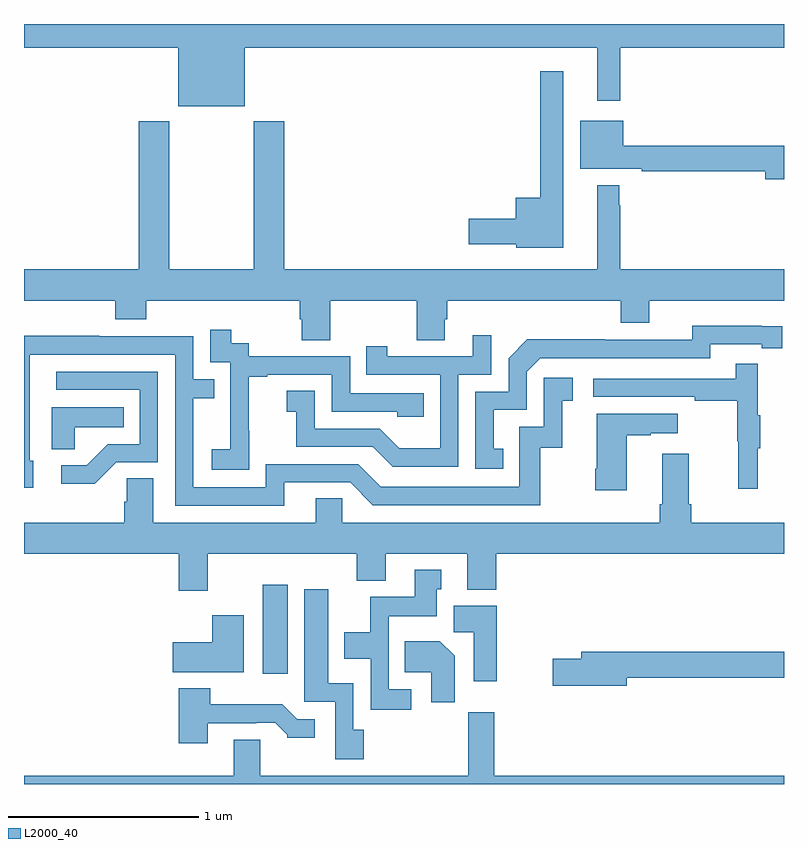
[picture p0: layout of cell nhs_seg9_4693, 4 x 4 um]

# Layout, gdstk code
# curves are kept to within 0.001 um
import gdstk
lib = gdstk.Library(unit=1e-6, precision=1e-09)
def R(c, l, rs):  # rectangles x0, y0, x1, y1
    for r in rs: c.add(gdstk.rectangle(r[:2], r[2:], *l))
def P(c, l, *ps):  # polygons
    for p in ps: c.add(gdstk.Polygon(p, *l))
L2000_40 = (2000, 40)

nhs_seg9_4693 = lib.new_cell('nhs_seg9_4693')
R(nhs_seg9_4693, L2000_40, [(382.256,1237.08,382.387,1237.549)])
P(nhs_seg9_4693, L2000_40, [(382.162,1240.376),(384.017,1240.376),(384.017,1240.095),(384.139,1240.095),(384.139,1240.376),(385,1240.376),(385,1240.5),(381,1240.5),(381,1240.376),(381.812,1240.376),(381.812,1240.067),(382.162,1240.067)],
  [(383.839,1240.252),(383.718,1240.252),(383.718,1239.586),(383.588,1239.586),(383.588,1239.476),(383.34,1239.476),(383.34,1239.341),(383.592,1239.341),(383.592,1239.323),(383.839,1239.323)],
  [(385,1239.86),(384.154,1239.86),(384.154,1239.991),(383.927,1239.991),(383.927,1239.737),(384.25,1239.737),(384.25,1239.724),(384.902,1239.724),(384.902,1239.682),(385,1239.682)],
  [(382.611,1239.044),(383.068,1239.044),(383.068,1238.836),(383.215,1238.836),(383.215,1238.946),(383.228,1238.946),(383.228,1239.044),(384.14,1239.044),(384.14,1238.927),(384.292,1238.927),(384.292,1239.044),(385,1239.044),(385,1239.208),(384.139,1239.208),(384.139,1239.545),(384.132,1239.545),(384.132,1239.652),(384.017,1239.652),(384.017,1239.208),(382.37,1239.208),(382.37,1239.988),(382.21,1239.988),(382.21,1239.208),(381.765,1239.208),(381.765,1239.988),(381.605,1239.988),(381.605,1239.208),(381,1239.208),(381,1239.044),(381.479,1239.044),(381.479,1238.945),(381.644,1238.945),(381.644,1239.044),(382.451,1239.044),(382.451,1238.946),(382.463,1238.946),(382.463,1238.836),(382.611,1238.836)],
  [(383.522,1238.265),(383.473,1238.265),(383.473,1238.469),(383.646,1238.469),(383.646,1238.67),(383.718,1238.742),(384.612,1238.742),(384.612,1238.814),(384.884,1238.814),(384.884,1238.794),(384.992,1238.794),(384.992,1238.91),(384.516,1238.911),(384.516,1238.838),(384.056,1238.838),(384.056,1238.84),(383.648,1238.84),(383.55,1238.742),(383.55,1238.565),(383.376,1238.565),(383.376,1238.16),(383.522,1238.16)],
  [(382.185,1238.359),(382.184,1238.359),(382.184,1238.643),(382.279,1238.643),(382.279,1238.655),(382.62,1238.655),(382.62,1238.46),(382.965,1238.46),(382.965,1238.433),(383.105,1238.433),(383.105,1238.556),(382.716,1238.556),(382.716,1238.751),(382.182,1238.751),(382.182,1238.82),(382.09,1238.82),(382.09,1238.89),(381.981,1238.89),(381.981,1238.721),(382.086,1238.721),(382.086,1238.492),(382.085,1238.492),(382.085,1238.263),(381.987,1238.263),(381.987,1238.153),(382.185,1238.153)],
  [(383.286,1238.655),(383.46,1238.655),(383.46,1238.863),(383.363,1238.863),(383.363,1238.751),(382.912,1238.751),(382.912,1238.803),(382.801,1238.803),(382.801,1238.655),(383.19,1238.655),(383.19,1238.266),(382.976,1238.266),(382.872,1238.37),(382.53,1238.37),(382.53,1238.569),(382.383,1238.569),(382.383,1238.459),(382.432,1238.459),(382.432,1238.274),(382.835,1238.274),(382.94,1238.169),(383.286,1238.169)],
  [(382.369,1238.088),(382.716,1238.088),(382.836,1237.968),(383.716,1237.968),(383.716,1238.271),(383.834,1238.271),(383.834,1238.517),(383.887,1238.517),(383.887,1238.638),(383.736,1238.638),(383.736,1238.379),(383.607,1238.379),(383.607,1238.064),(382.878,1238.064),(382.758,1238.184),(382.272,1238.184),(382.272,1238.061),(381.891,1238.061),(381.891,1238.53),(382.001,1238.53),(382.001,1238.631),(381.891,1238.631),(381.891,1238.856),(381.395,1238.856),(381.395,1238.858),(381,1238.858),(381,1238.058),(381.049,1238.058),(381.049,1238.202),(381.03,1238.202),(381.03,1238.76),(381.795,1238.76),(381.795,1237.965),(382.369,1237.965)],
  [(384.863,1238.267),(384.874,1238.267),(384.874,1238.441),(384.863,1238.441),(384.863,1238.713),(384.745,1238.713),(384.745,1238.634),(383.997,1238.634),(383.997,1238.538),(384.529,1238.538),(384.529,1238.518),(384.753,1238.518),(384.753,1238.304),(384.76,1238.304),(384.76,1238.055),(384.863,1238.055)],
  [(381.486,1238.193),(381.705,1238.193),(381.705,1238.67),(381.171,1238.67),(381.171,1238.574),(381.609,1238.574),(381.609,1238.289),(381.44,1238.289),(381.329,1238.178),(381.195,1238.178),(381.195,1238.081),(381.373,1238.081)],
  [(381.267,1238.378),(381.524,1238.378),(381.524,1238.482),(381.146,1238.482),(381.146,1238.263),(381.267,1238.263)],
  [(384.172,1238.335),(384.299,1238.335),(384.299,1238.345),(384.442,1238.345),(384.442,1238.449),(384.014,1238.449),(384.014,1238.158),(384.007,1238.158),(384.007,1238.046),(384.172,1238.046)],
  [(381.967,1237.712),(382.751,1237.712),(382.751,1237.571),(382.903,1237.571),(382.903,1237.712),(383.333,1237.712),(383.333,1237.523),(383.486,1237.523),(383.486,1237.712),(385,1237.712),(385,1237.876),(384.512,1237.876),(384.512,1237.972),(384.499,1237.972),(384.499,1238.239),(384.359,1238.239),(384.359,1237.972),(384.347,1237.972),(384.347,1237.876),(382.674,1237.876),(382.674,1238.003),(382.535,1238.003),(382.535,1237.876),(381.679,1237.876),(381.679,1238.108),(381.54,1238.108),(381.54,1237.985),(381.527,1237.985),(381.527,1237.876),(381,1237.876),(381,1237.712),(381.815,1237.712),(381.815,1237.518),(381.967,1237.518)],
  [(383.038,1236.999),(382.92,1236.999),(382.92,1237.382),(383.173,1237.382),(383.173,1237.524),(383.197,1237.524),(383.197,1237.627),(383.057,1237.627),(383.057,1237.486),(382.822,1237.486),(382.822,1237.3),(382.685,1237.3),(382.685,1237.16),(382.824,1237.16),(382.824,1236.891),(383.038,1236.891)],
  [(382.787,1236.786),(382.734,1236.786),(382.734,1237.03),(382.6,1237.03),(382.6,1237.525),(382.475,1237.525),(382.475,1236.933),(382.638,1236.933),(382.638,1236.63),(382.787,1236.63)],
  [(383.488,1237.438),(383.261,1237.438),(383.261,1237.3),(383.366,1237.3),(383.366,1237.041),(383.488,1237.041)],
  [(382.156,1237.387),(381.992,1237.387),(381.992,1237.246),(381.783,1237.246),(381.783,1237.088),(382.156,1237.088)],
  [(383.266,1237.174),(383.188,1237.252),(383.005,1237.252),(383.005,1237.088),(383.144,1237.088),(383.144,1236.93),(383.266,1236.93)],
  [(384.172,1237.06),(385,1237.06),(385,1237.196),(383.933,1237.196),(383.933,1237.16),(383.784,1237.16),(383.784,1237.018),(384.172,1237.018)],
  [(381.967,1236.819),(382.223,1236.819),(382.223,1236.822),(382.322,1236.822),(382.386,1236.758),(382.386,1236.743),(382.531,1236.743),(382.531,1236.84),(382.437,1236.84),(382.359,1236.919),(381.98,1236.919),(381.98,1237.003),(381.815,1237.003),(381.815,1236.714),(381.967,1236.714)],
  [(385,1236.544),(383.474,1236.544),(383.474,1236.877),(383.338,1236.877),(383.338,1236.544),(382.243,1236.544),(382.243,1236.734),(382.103,1236.734),(382.103,1236.544),(381,1236.544),(381,1236.5),(385,1236.5)])

lib.write_gds('nhs_seg9_4693.gds')
